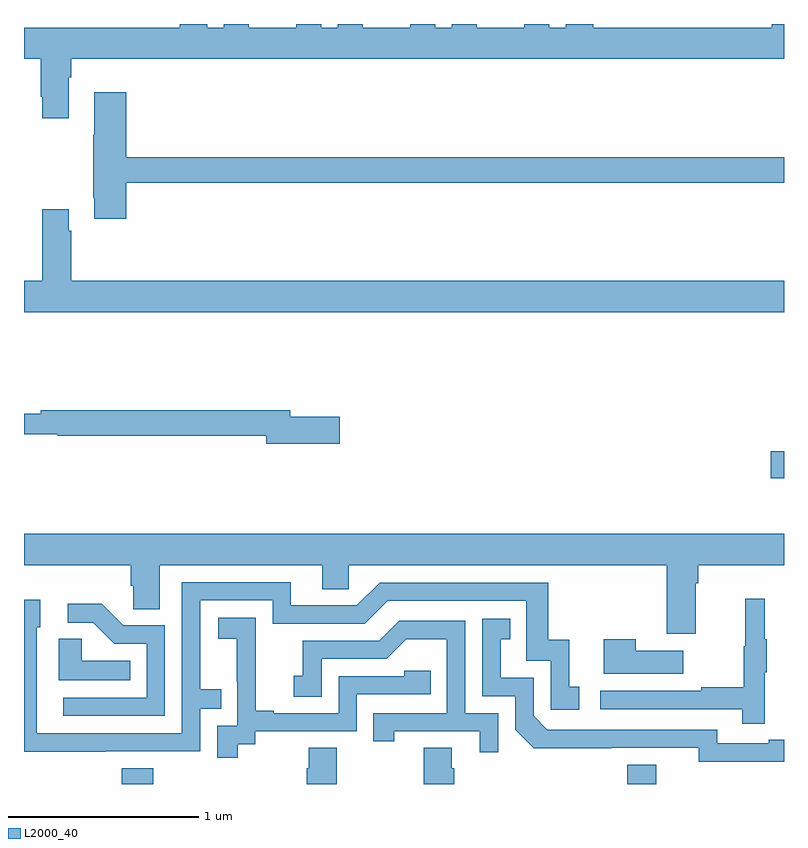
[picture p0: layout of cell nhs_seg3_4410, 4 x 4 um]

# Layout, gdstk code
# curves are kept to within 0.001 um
import gdstk
lib = gdstk.Library(unit=1e-6, precision=1e-09)
def R(c, l, rs):  # rectangles x0, y0, x1, y1
    for r in rs: c.add(gdstk.rectangle(r[:2], r[2:], *l))
def P(c, l, *ps):  # polygons
    for p in ps: c.add(gdstk.Polygon(p, *l))
L2000_40 = (2000, 40)

nhs_seg3_4410 = lib.new_cell('nhs_seg3_4410')
R(nhs_seg3_4410, L2000_40, [(345.515,730.4,345.68,730.483), (348.176,730.4,348.328,730.501), (348.93,732.01,349,732.152)])
P(nhs_seg3_4410, L2000_40, [(345.235,734.12),(345.248,734.12),(345.248,734.216),(349,734.216),(349,734.4),(348.935,734.4),(348.935,734.38),(347.996,734.38),(347.996,734.4),(347.852,734.4),(347.852,734.38),(347.764,734.38),(347.764,734.4),(347.633,734.4),(347.633,734.38),(347.383,734.38),(347.383,734.4),(347.252,734.4),(347.252,734.38),(347.164,734.38),(347.164,734.4),(347.033,734.4),(347.033,734.38),(346.783,734.38),(346.783,734.4),(346.652,734.4),(346.652,734.38),(346.564,734.38),(346.564,734.4),(346.433,734.4),(346.433,734.38),(346.183,734.38),(346.183,734.4),(346.052,734.4),(346.052,734.38),(345.964,734.38),(345.964,734.4),(345.821,734.4),(345.821,734.38),(345,734.38),(345,734.216),(345.088,734.216),(345.088,734.017),(345.095,734.017),(345.095,733.905),(345.235,733.905)],
  [(345.539,733.564),(349,733.564),(349,733.7),(345.539,733.7),(345.539,734.041),(345.371,734.041),(345.371,733.817),(345.364,733.817),(345.364,733.486),(345.371,733.486),(345.371,733.374),(345.539,733.374)],
  [(349,733.048),(345.248,733.048),(345.248,733.313),(345.235,733.313),(345.235,733.426),(345.095,733.426),(345.095,733.048),(345,733.048),(345,732.884),(349,732.884)],
  [(346.663,732.332),(346.402,732.332),(346.402,732.368),(345.088,732.368),(345.088,732.349),(345,732.349),(345,732.24),(345.178,732.24),(345.178,732.232),(346.274,732.232),(346.274,732.19),(346.663,732.19)],
  [(348.535,731.456),(348.548,731.456),(348.548,731.552),(349,731.552),(349,731.716),(345,731.716),(345,731.552),(345.563,731.552),(345.563,731.443),(345.576,731.443),(345.576,731.32),(345.715,731.32),(345.715,731.552),(346.571,731.552),(346.571,731.425),(346.71,731.425),(346.71,731.552),(348.383,731.552),(348.383,731.19),(348.535,731.19)],
  [(345.431,730.572),(345.927,730.572),(345.927,730.797),(346.037,730.797),(346.037,730.898),(345.927,730.898),(345.927,731.367),(346.308,731.367),(346.308,731.244),(346.794,731.244),(346.914,731.364),(347.643,731.364),(347.643,731.049),(347.772,731.049),(347.772,730.791),(347.923,730.791),(347.923,730.911),(347.87,730.911),(347.87,731.158),(347.759,731.158),(347.759,731.46),(346.872,731.46),(346.752,731.34),(346.405,731.34),(346.405,731.463),(345.831,731.463),(345.831,730.668),(345.066,730.668),(345.066,731.226),(345.085,731.226),(345.085,731.371),(345,731.371),(345,730.571)],
  [(348.899,730.987),(348.91,730.987),(348.91,731.161),(348.899,731.161),(348.899,731.374),(348.796,731.374),(348.796,731.124),(348.789,731.124),(348.789,730.91),(348.565,730.91),(348.565,730.89),(348.033,730.89),(348.033,730.794),(348.781,730.794),(348.781,730.716),(348.899,730.716)],
  [(345.741,731.235),(345.522,731.235),(345.409,731.348),(345.231,731.348),(345.231,731.25),(345.365,731.25),(345.476,731.139),(345.645,731.139),(345.645,730.854),(345.207,730.854),(345.207,730.758),(345.741,730.758)],
  [(346.126,730.609),(346.218,730.609),(346.218,730.677),(346.752,730.677),(346.752,730.872),(347.141,730.872),(347.141,730.995),(347.001,730.995),(347.001,730.968),(346.656,730.968),(346.656,730.773),(346.315,730.773),(346.315,730.786),(346.22,730.786),(346.22,731.069),(346.221,731.069),(346.221,731.275),(346.023,731.275),(346.023,731.165),(346.121,731.165),(346.121,730.937),(346.122,730.937),(346.122,730.707),(346.017,730.707),(346.017,730.539),(346.126,730.539)],
  [(348.92,730.518),(349,730.518),(349,730.634),(348.92,730.634),(348.92,730.614),(348.648,730.614),(348.648,730.686),(347.754,730.686),(347.682,730.758),(347.682,730.959),(347.509,730.959),(347.509,731.163),(347.558,731.163),(347.558,731.269),(347.412,731.269),(347.412,730.863),(347.586,730.863),(347.586,730.686),(347.684,730.589),(348.552,730.59),(348.552,730.517)],
  [(347.496,730.773),(347.322,730.773),(347.322,731.259),(346.976,731.259),(346.871,731.154),(346.468,731.154),(346.468,730.969),(346.419,730.969),(346.419,730.86),(346.566,730.86),(346.566,731.058),(346.908,731.058),(347.012,731.162),(347.226,731.162),(347.226,730.773),(346.837,730.773),(346.837,730.626),(346.948,730.626),(346.948,730.677),(347.399,730.677),(347.399,730.566),(347.496,730.566)],
  [(345.56,731.05),(345.303,731.05),(345.303,731.165),(345.182,731.165),(345.182,730.946),(345.56,730.946)],
  [(348.469,731.101),(348.221,731.101),(348.221,731.161),(348.05,731.161),(348.05,730.979),(348.469,730.979)],
  [(347.264,730.482),(347.251,730.482),(347.251,730.592),(347.104,730.592),(347.104,730.4),(347.264,730.4)],
  [(346.647,730.592),(346.499,730.592),(346.499,730.482),(346.487,730.482),(346.487,730.4),(346.647,730.4)])

lib.write_gds('nhs_seg3_4410.gds')
